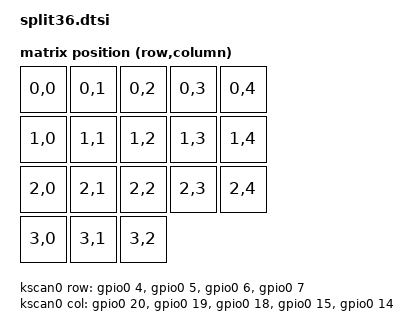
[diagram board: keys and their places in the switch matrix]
#include <dt-bindings/zmk/matrix_transform.h>

/ {
  compatible = "zmk,keyboard";

  chosen {
    zmk,kscan = &kscan0;
  };

  kscan0: kscan0 {
    compatible = "zmk,kscan-gpio-matrix";
    diode-direction = "COL2ROW";
    wakeup-source;

    row-gpios = <&gpio0 4 (GPIO_ACTIVE_HIGH | GPIO_PULL_DOWN)>,
                <&gpio0 5 (GPIO_ACTIVE_HIGH | GPIO_PULL_DOWN)>,
                <&gpio0 6 (GPIO_ACTIVE_HIGH | GPIO_PULL_DOWN)>,
                <&gpio0 7 (GPIO_ACTIVE_HIGH | GPIO_PULL_DOWN)>;

    col-gpios = <&gpio0 20 (GPIO_ACTIVE_HIGH | GPIO_PULL_DOWN)>,
                <&gpio0 19 (GPIO_ACTIVE_HIGH | GPIO_PULL_DOWN)>,
                <&gpio0 18 (GPIO_ACTIVE_HIGH | GPIO_PULL_DOWN)>,
                <&gpio0 15 (GPIO_ACTIVE_HIGH | GPIO_PULL_DOWN)>,
                <&gpio0 14 (GPIO_ACTIVE_HIGH | GPIO_PULL_DOWN)>;
  };

  default_transform: matrix_transform {
    compatible = "zmk,matrix-transform";
    columns = <5>;
    rows = <4>;
    map = <
      RC(0,0) RC(0,1) RC(0,2) RC(0,3) RC(0,4)
      RC(1,0) RC(1,1) RC(1,2) RC(1,3) RC(1,4)
      RC(2,0) RC(2,1) RC(2,2) RC(2,3) RC(2,4)
      RC(3,0) RC(3,1) RC(3,2) 
    >;
  };
};
